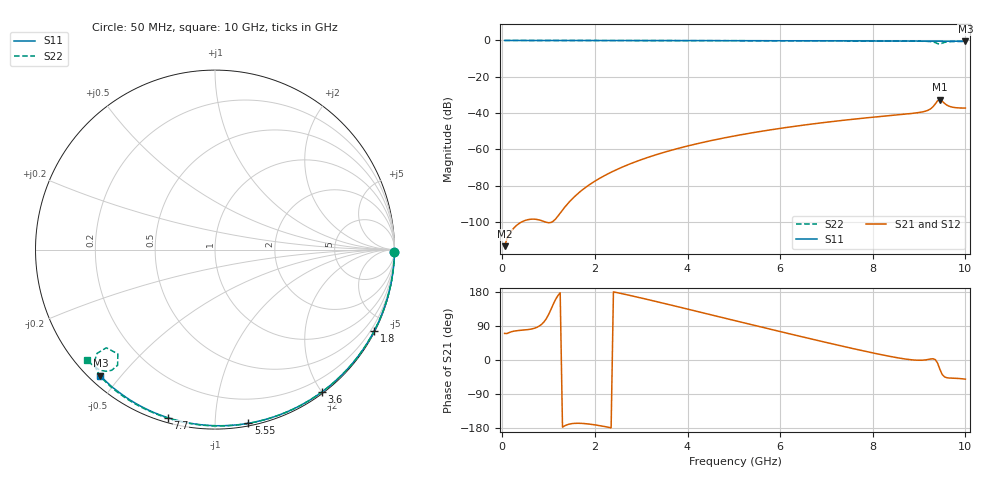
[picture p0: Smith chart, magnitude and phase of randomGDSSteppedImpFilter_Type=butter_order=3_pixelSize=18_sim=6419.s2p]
! freq	dB(S11)	phase(S11)	dB(S12)	phase(S12)
!  dB(S21)	phase(S21)	dB(S22)	phase(S22)
!S-par simulation data
#  GHz  S  DB  R 50
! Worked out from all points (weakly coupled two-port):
!   200 points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, 50 MHz to 10 GHz, reference 50 ohm
!   highest |S21| = -32.54 dB at 9.45 GHz (marker M1); lowest = -113.2 dB at 50 MHz (marker M2)
!   lowest |S11| = -0.4 dB at 10 GHz (marker M3), VSWR 38.93, Z = 1.54 - j22.1 ohm
!   |S11| at or under -10 dB: nowhere
!   |S22| runs from -2.0 to 0.0 dB; largest |S21 - S12| = 0
!   S11 on the Smith chart (normalised r, x): 50 MHz: open; 1.8 GHz: 0.04, -4.15; 3.6 GHz: 0.02, -2.01; 5.55 GHz: 0.02, -1.21; 7.7 GHz: 0.02, -0.76; 10 GHz: 0.03, -0.44
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0.05  -0.00 -0.8  -113.22 70.1  -113.22 70.1  -0.00 -0.8
0.9  -0.02 -13.7  -99.65 100.5  -99.65 100.5  -0.02 -14.7
1.75  -0.03 -26.4  -81.82 -167.5  -81.82 -167.5  -0.04 -28.2
1.8  -0.03 -27.1  -80.86 -168.0  -80.86 -168.0  -0.04 -29.0
1.85  -0.04 -27.8  -79.95 -168.7  -79.95 -168.7  -0.04 -29.8
2.15  -0.04 -32.3  -75.19 -174.2  -75.19 -174.2  -0.04 -34.5
2.55  -0.05 -38.1  -70.15 176.0  -70.15 176.0  -0.05 -40.8
3.4  -0.07 -50.2  -62.28 152.1  -62.28 152.1  -0.07 -53.7
3.6  -0.07 -53.0  -60.78 146.2  -60.78 146.2  -0.08 -56.7
5.05  -0.11 -72.6  -52.38 103.1  -52.38 103.1  -0.12 -77.6
5.55  -0.13 -79.2  -50.17 88.3  -50.17 88.3  -0.14 -84.5
6.7  -0.18 -93.6  -45.95 54.7  -45.95 54.7  -0.19 -99.9
7.7  -0.24 -105.7  -43.02 26.7  -43.02 26.7  -0.26 -112.9
8.35  -0.29 -113.3  -41.39 10.0  -41.39 10.0  -0.31 -121.4
9.15  -0.36 -122.6  -38.83 0.4  -38.83 0.4  -0.48 -133.4
9.25  -0.37 -123.7  -37.61 2.7  -37.61 2.7  -0.63 -135.9
9.35  -0.38 -124.8  -34.93 1.0  -34.93 1.0  -1.16 -138.7
9.4  -0.38 -125.4  -33.19 -8.3  -33.19 -8.3  -1.77 -137.9
9.45  -0.38 -126.0  -32.54 -24.9  -32.54 -24.9  -2.00 -133.0
9.55  -0.39 -127.1  -34.65 -44.6  -34.65 -44.6  -1.06 -130.6
9.65  -0.41 -128.3  -36.20 -47.5  -36.20 -47.5  -0.70 -133.1
10  -0.45 -132.3  -37.20 -50.6  -37.20 -50.6  -0.54 -139.3
